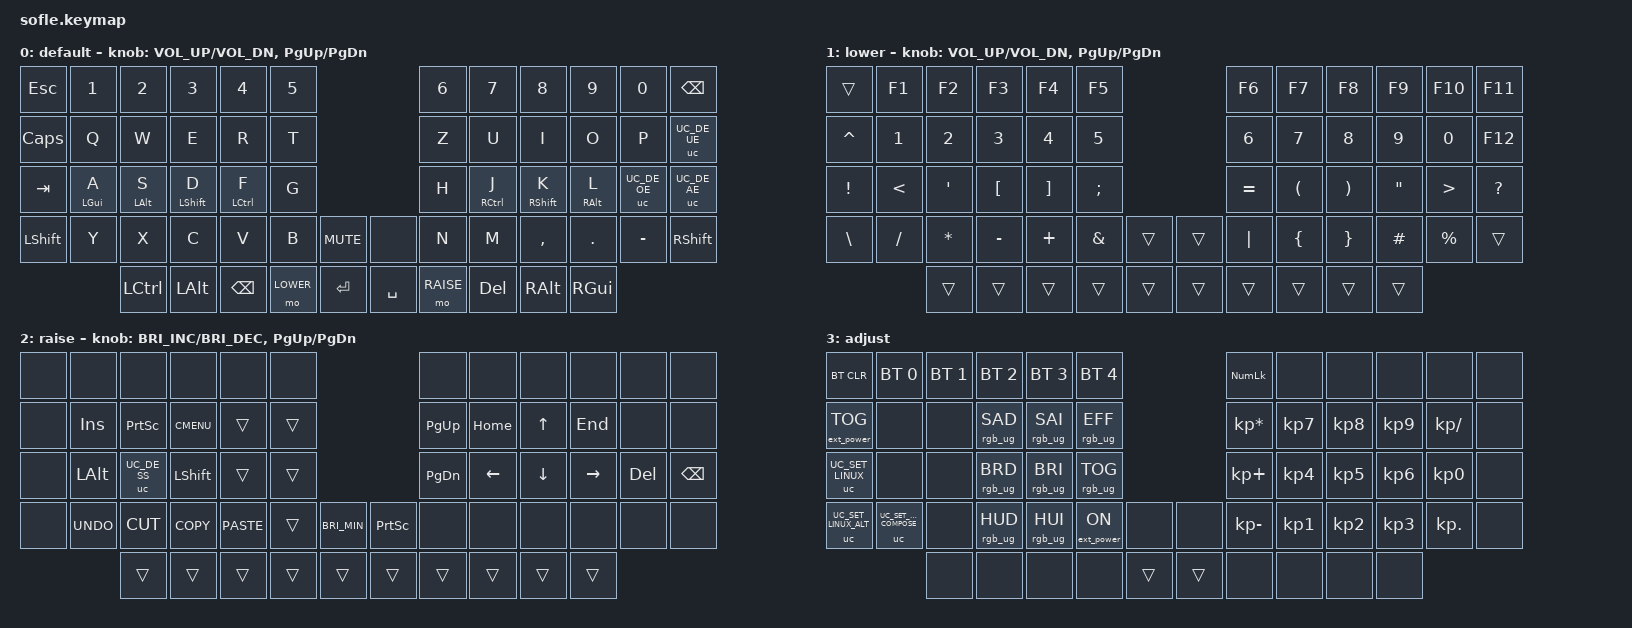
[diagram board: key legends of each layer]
/*
 * Copyright (c) 2020 The ZMK Contributors
 *
 * SPDX-License-Identifier: MIT
 */

#include <behaviors.dtsi>
#include <dt-bindings/zmk/keys.h>
#include <dt-bindings/zmk/bt.h>
#include <dt-bindings/zmk/rgb.h>
#include <dt-bindings/zmk/ext_power.h>
#include <dt-bindings/zmk/backlight.h>

// Unicode Support
#include <behaviors/unicode.dtsi>
// Allows access of Unicode glyphs by label
#include <zmk-unicode/keys-extra.h>  // All glyphs except CJK

#include <zephyr/dt-bindings/input/input-event-codes.h>

#define BASE 0
#define LOWER 1
#define RAISE 2
#define ADJUST 3

&uc {
  default-mode = <UC_MODE_WIN_COMPOSE>;  // Default to Linux input system
  minimum-length = <0>;            // Set to desired minimum input length
  linux-key = <LC(LS(U))>;         // Overwrite Linux compose key
  win-compose-key = <RALT>;        // Overwrite WinCompose compose key
};


/*
 * Temporarily here because nice nano v2 spi is not defined on ZMK Yet
 * Source: https://github.com/zmkfirmware/zmk/blob/main/app/boards/shields/reviung41/boards/nice_nano.overlay
 * GitHub Issue: https://github.com/zmkfirmware/zmk/issues/885
 */

#include <dt-bindings/led/led.h>

&pinctrl {
    spi3_default: spi3_default {
        group1 {
            psels = <NRF_PSEL(SPIM_MOSI, 0, 8)>;
        };
    };

    spi3_sleep: spi3_sleep {
        group1 {
            psels = <NRF_PSEL(SPIM_MOSI, 0, 8)>;
            low-power-enable;
        };
    };
};

&spi3 {
    compatible = "nordic,nrf-spim";
    status = "okay";

    pinctrl-0 = <&spi3_default>;
    pinctrl-1 = <&spi3_sleep>;
    pinctrl-names = "default", "sleep";

    led_strip: ws2812@0 {
        compatible = "worldsemi,ws2812-spi";
        label = "WS2812";

        /* SPI */
        reg = <0>; /* ignored, but necessary for SPI bindings */
        spi-max-frequency = <4000000>;

        /* WS2812 */
        chain-length = <30>;
        spi-one-frame = <0x70>;
        spi-zero-frame = <0x40>;

        color-mapping = <LED_COLOR_ID_GREEN 
                         LED_COLOR_ID_RED
                         LED_COLOR_ID_BLUE>;
    };
};

&pro_micro_i2c {
    status = "okay";
    // sda-pin = <17>;
    // scl-pin = <20>;

    oled: ssd1306@3c {
        compatible = "solomon,ssd1306fb";
        reg = <0x3c>;
        width = <128>;
        height = <32>;
        segment-offset = <0>;
        page-offset = <0>;
        display-offset = <0>;
        multiplex-ratio = <31>;
        segment-remap;
        com-invdir;
        com-sequential;
        /*inversion-on;*/
        prechargep = <0x22>;
    };
};

/ {
    chosen {
        zmk,underglow = &led_strip;
        zephyr,display = &oled;
    };
};

/* END temporary RGB support section */

/ {

    behaviors {
        hml: home_row_mod_left {
            compatible = "zmk,behavior-hold-tap";
            #binding-cells = <2>;
            flavor = "balanced";
            require-prior-idle-ms = <150>;
            tapping-term-ms = <280>;
            quick-tap-ms = <175>;
            bindings = <&kp>, <&kp>;
            //hold-trigger-key-positions = <>; // List of keys on the right side of the keyboard
            hold-trigger-on-release;
        };
        hmr: home_row_mod_right {
            compatible = "zmk,behavior-hold-tap";
            #binding-cells = <2>;
            flavor = "balanced";
            require-prior-idle-ms = <150>;
            tapping-term-ms = <280>;
            quick-tap-ms = <175>;
            bindings = <&kp>, <&kp>;
            //hold-trigger-key-positions = <>; // List of keys on the left side of the keyboard
            hold-trigger-on-release;
        };
    };

   // Activate ADJUST layer by pressing raise and lower
    conditional_layers {
        compatible = "zmk,conditional-layers";
        adjust_layer {
            if-layers = <LOWER RAISE>;
            then-layer = <ADJUST>;
        };
    };

    keymap {
        compatible = "zmk,keymap";

        default_layer {
            display-name = "default";
/*
 ------------------------------------------------------------------------------------------------------------
 |  ESC  |   1   |  2   |  3   |   4   |   5   |                   |    6   |  7    |  8    |  9   |    0    |  BKSPC  |
 |  CAPS |   Q   |  W   |  E   |   R   |   T   |                   |  Z (Y) |  U    |  I    |  O   |    P    |  Ü ([{) |
 |  TAB  |   A   |  S   |  D   |   F   |   G   |                   |    H   |  J    |  K    |  L   |  Ö (;:) |  Ä ('") |
 | SHIFT | Y (Z) |  X   |  C   |   V   |   B   |  MUTE  |  |       |    N   |  M    |  ,;   |  .:  | -_ (/?) |  SHIFT  |
                 | CTRL | LALT | BKSPC | LOWER |  ENTER |  | SPACE |  RAISE |  DEL  | RALT  | GUI  |
*/
            bindings = <
&kp ESC   &kp N1      &kp N2      &kp N3       &kp N4       &kp N5                              &kp N6     &kp N7       &kp N8       &kp N9      &kp N0       &kp BSPC
&kp CAPS  &kp Q       &kp W       &kp E        &kp R        &kp T                               &kp Z      &kp U        &kp I        &kp O       &kp P        &uc UC_DE_UE
&kp TAB   &hml LGUI A &hml LALT S &hml LSHFT D &hml LCTRL F &kp G                               &kp H      &hmr RCTRL J &hmr RSHFT K &hmr RALT L &uc UC_DE_OE &uc UC_DE_AE
&kp LSHFT &kp Y       &kp X       &kp C        &kp V        &kp B     &kp C_MUTE     &none      &kp N      &kp M        &kp COMMA    &kp DOT     &kp MINUS    &kp RSHFT
                      &kp LCTRL   &kp LALT     &kp BSPC     &mo LOWER &kp RET        &kp SPACE  &mo RAISE  &kp DEL      &kp RALT     &kp RGUI
            >;

            sensor-bindings = <&inc_dec_kp C_VOL_UP C_VOL_DN &inc_dec_kp PG_UP PG_DN>;
        };

        lower_layer {
            display-name = "lower";
/* $´´``~
 ------------------------------------------------------------------------------------------------------------
 |       |  F1 |  F2 |  F3  |  F4  |  F5  |                   |  F6  |  F7   |  F8   |  F9  |  F10  |  F11  |
 |   ^   |  1  |  2  |  3   |  4   |  5   |                   |  6   |  7    |  8    |  9   |   0   |  F12  |
 |   !   |  <  |  '  |  [   |  ]   |  ;:  |                   |  =   |  (    |  )    |  "   |   >   |   ?   |
 |   \   |  /  |  *  |  -   |  +   |  &   |        |  |       |  |   |  {    |  }    |  #   |   %   |       |
               |     |      |      |      |        |  |       |      |       |       |      |
*/
            bindings = <
&trans    &kp F1        &kp F2           &kp F3      &kp F4    &kp F5                           &kp F6        &kp F7   &kp F8    &kp F9             &kp F10          &kp F11
&kp CARET &kp N1        &kp N2           &kp N3      &kp N4    &kp N5                           &kp N6        &kp N7   &kp N8    &kp N9             &kp N0           &kp F12
&kp EXCL  &kp LESS_THAN &kp SINGLE_QUOTE &kp LBKT    &kp RBKT  &kp SEMICOLON                    &kp EQUAL     &kp LPAR &kp RPAR  &kp DOUBLE_QUOTES  &kp GREATER_THAN &kp QUESTION
&kp BSLH  &kp SLASH     &kp ASTERISK     &kp MINUS   &kp PLUS  &kp AMPERSAND &trans     &trans  &kp PIPE      &kp LBRC &kp RBRC  &kp HASH           &kp PERCENT      &trans
                        &trans           &trans      &trans    &trans        &trans     &trans  &trans        &trans   &trans    &trans
            >;

            sensor-bindings = <&inc_dec_kp C_VOL_UP C_VOL_DN &inc_dec_kp PG_UP PG_DN>;
        };

        raise_layer {
            display-name = "raise"; 
// -----------------------------------------------------------------------------------------------------------------------
// |       |      |      |       |       |      |                           |      |      |       |      |       |       |
// |       | INS  | PSCR | GUI   |       |      |                           | PGUP | POS1 |   ^   | ENDE |       |       |
// |       | ALT  |  ß?  | SHIFT |       |      |                           | PGDN |   <- |   v   |  ->  |  DEL  | BKSPC |
// |       | UNDO | CUT  | COPY  | PASTE |      | MIN_BRIGHTNESS |  | PRINT |      |      |       |      |       |       |
//                |      |       |       |      |                |  |       |      |      |       |      |
            bindings = <
&none     &none        &none        &none        &none        &none                                      &none     &none     &none    &none     &none   &none
&none     &kp INS      &kp PSCRN    &kp K_CMENU  &trans       &trans                                     &kp PG_UP &kp HOME  &kp UP   &kp END   &none   &none
&none     &kp LALT     &uc UC_DE_SS &kp LSHFT    &trans       &trans                                     &kp PG_DN &kp LEFT  &kp DOWN &kp RIGHT &kp DEL &kp BSPC
&none     &kp K_UNDO   &kp K_CUT    &kp K_COPY   &kp K_PASTE  &trans   &kp C_BRI_MIN     &kp PRINTSCREEN &none     &none     &none    &none     &none   &none 
                       &trans       &trans       &trans       &trans   &trans            &trans          &trans    &trans    &trans   &trans
            >;

            sensor-bindings = <&inc_dec_kp C_BRIGHTNESS_INC C_BRIGHTNESS_DEC &inc_dec_kp PG_UP PG_DN>;
        };

        adjust_layer {
// ------------------------------------------------------------------------------------------------------------------------------------
// | BTCLR  |  BT1    |  BT2    |   BT3   |   BT4   |   BT5   |                  | NUMLOCK  |       |       |       |         |       |
// | EXTPWR |         |         | RGB_SAD | RGB_SAI | RGB_EFF |                  | MULTIPLY |   7   |   8   |   9   | DIVIDE  |       |
// |        |         |         | RGB_BRD | RGB_BRI | RGB_TOG |                  |  PLUS    |   4   |   5   |   6   |    0    |       |
// |        |         |         | RGB_HUD | RGB_HUI |         |        | |       |  MINUS   |   1   |   2   |   3   |   , (.) |       |
//                    |         |         |         |         |  ENTER | | SPACE |          |       |       |       |
            display-name = "adjust";
            bindings = <
&bt BT_CLR           &bt BT_SEL 0           &bt BT_SEL 1 &bt BT_SEL 2    &bt BT_SEL 3    &bt BT_SEL 4                            &kp KP_NUMLOCK  &none     &none     &none     &none         &none
&ext_power EP_TOG    &none                  &none        &rgb_ug RGB_SAD &rgb_ug RGB_SAI &rgb_ug RGB_EFF                         &kp KP_MULTIPLY &kp KP_N7 &kp KP_N8 &kp KP_N9 &kp KP_DIVIDE &none
&uc UC_SET_LINUX     &none                  &none        &rgb_ug RGB_BRD &rgb_ug RGB_BRI &rgb_ug RGB_TOG                         &kp KP_PLUS     &kp KP_N4 &kp KP_N5 &kp KP_N6 &kp KP_N0     &none
&uc UC_SET_LINUX_ALT &uc UC_SET_WIN_COMPOSE &none        &rgb_ug RGB_HUD &rgb_ug RGB_HUI &ext_power EP_ON &none           &none  &kp KP_MINUS    &kp KP_N1 &kp KP_N2 &kp KP_N3 &kp KP_DOT    &none
                                            &none        &none           &none           &none            &trans          &trans &none           &none     &none     &none
            >;
        };

    };
};

